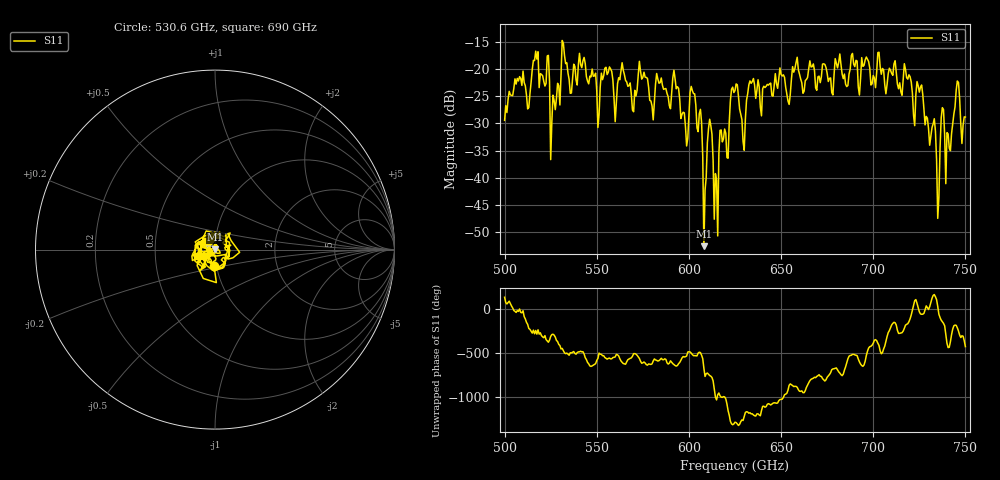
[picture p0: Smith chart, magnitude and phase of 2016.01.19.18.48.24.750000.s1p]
!Created with skrf (http://scikit-rf.org).
# GHz S RI R 50.0
!freq ReS11 ImS11
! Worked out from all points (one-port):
!   401 points, 500 GHz to 750 GHz, reference 50 ohm
!   lowest |S11| = -52.6 dB at 608.1 GHz (marker M1), VSWR 1.00, Z = 50.2 + j0.172 ohm
!   |S11| at or under -10 dB: start of sweep to end of sweep
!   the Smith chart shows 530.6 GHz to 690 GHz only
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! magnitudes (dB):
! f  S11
! 500 GHz  -29.4
! 506.9 GHz  -21.7
! 513.1 GHz  -27.1
! 516.9 GHz  -16.7
! 523.1 GHz  -17.6
! 526.2 GHz  -24.8
! 531.2 GHz  -14.7
! 550.6 GHz  -30.8
! 562.5 GHz  -21.9
! 593.8 GHz  -23.2
! 598.8 GHz  -34.2
! 602.5 GHz  -24.5
! 608.1 GHz  -52.6
! 611.2 GHz  -29.2
! 615 GHz  -40.5
! 617.5 GHz  -31.2
! 625 GHz  -23.9
! 629.4 GHz  -33.4
! 633.8 GHz  -22.6
! 656.2 GHz  -19.5
! 687.5 GHz  -20.0
! 718.8 GHz  -21.8
! 732.5 GHz  -30.1
! 735 GHz  -47.5
! 737.5 GHz  -27.1
! 740.6 GHz  -31.9
! 745.6 GHz  -22.2
! 750 GHz  -28.8
